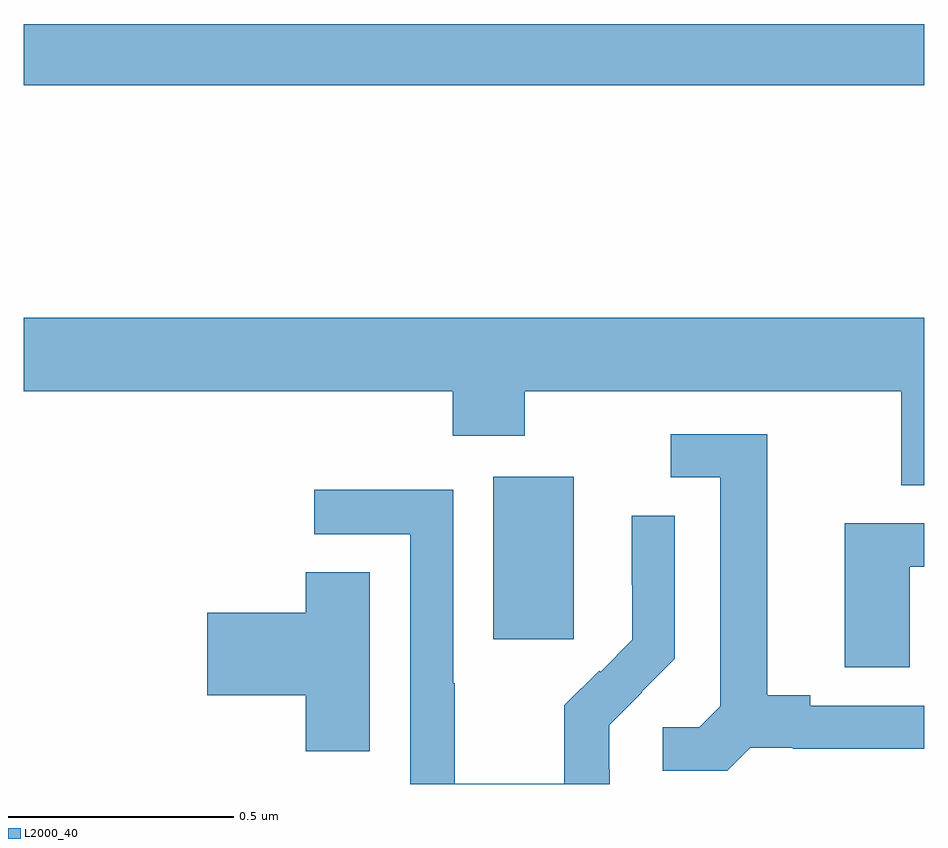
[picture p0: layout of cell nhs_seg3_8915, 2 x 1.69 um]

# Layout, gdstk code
import gdstk
lib = gdstk.Library(unit=1e-6, precision=1e-09)
def R(c, l, rs):  # rectangles x0, y0, x1, y1
    for r in rs: c.add(gdstk.rectangle(r[:2], r[2:], *l))
def P(c, l, *ps):  # polygons
    for p in ps: c.add(gdstk.Polygon(p, *l))
L2000_40 = (2000, 40)

nhs_seg3_8915 = lib.new_cell('nhs_seg3_8915')
R(nhs_seg3_8915, L2000_40, [(223.043,677.721,223.222,678.082), (222,678.952,224,679.088)])
P(nhs_seg3_8915, L2000_40, [(224,678.436),(222,678.436),(222,678.272),(222.953,678.272),(222.953,678.173),(223.113,678.173),(223.113,678.272),(223.949,678.272),(223.949,678.064),(224,678.064)],
  [(223.614,677.481),(223.708,677.481),(223.708,677.478),(224,677.478),(224,677.574),(223.747,677.574),(223.747,677.597),(223.651,677.597),(223.651,678.177),(223.437,678.177),(223.437,678.081),(223.547,678.081),(223.547,677.573),(223.5,677.526),(223.419,677.526),(223.419,677.429),(223.562,677.429)],
  [(223.302,677.433),(223.3,677.433),(223.3,677.53),(223.374,677.604),(223.373,677.605),(223.446,677.678),(223.446,677.996),(223.35,677.996),(223.35,677.842),(223.352,677.842),(223.352,677.72),(223.281,677.649),(223.278,677.652),(223.201,677.575),(223.201,677.401),(222.957,677.401),(222.957,677.624),(222.954,677.624),(222.954,678.054),(222.645,678.054),(222.645,677.955),(222.858,677.955),(222.858,677.4),(223.302,677.4)],
  [(223.968,677.883),(224,677.883),(224,677.979),(223.823,677.979),(223.823,677.659),(223.968,677.659)],
  [(222.769,677.87),(222.626,677.87),(222.626,677.78),(222.408,677.78),(222.408,677.597),(222.626,677.597),(222.626,677.473),(222.769,677.473)])

lib.write_gds('nhs_seg3_8915.gds')
